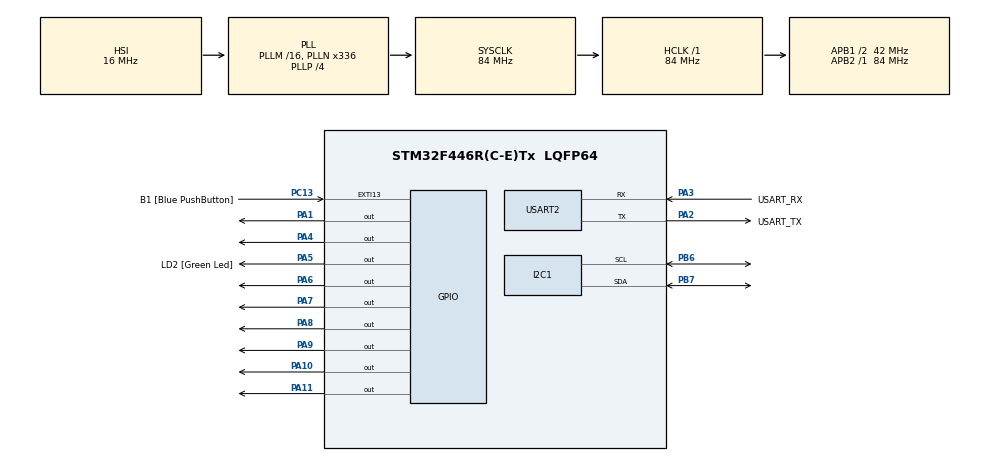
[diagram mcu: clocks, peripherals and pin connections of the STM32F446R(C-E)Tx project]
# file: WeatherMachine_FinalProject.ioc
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FREERTOS.Tasks01=LCDTask,0,512,StartLCDTask,Default,NULL,Dynamic,NULL,NULL;BME280Task,2,512,StartBME280Task,Default,NULL,Dynamic,NULL,NULL
Mcu.Family=STM32F4
Mcu.Name=STM32F446R(C-E)Tx
Mcu.Package=LQFP64
NVIC.EXTI15_10_IRQn=true\:5\:0\:false\:false\:true\:true\:true\:true\:true
NVIC.PriorityGroup=NVIC_PRIORITYGROUP_4
NVIC.TIM6_DAC_IRQn=true\:15\:0\:false\:false\:true\:false\:false\:true\:true
NVIC.TimeBase=TIM6_DAC_IRQn
NVIC.TimeBaseIP=TIM6
PA1.Signal=GPIO_Output
PA10.Signal=GPIO_Output
PA11.Signal=GPIO_Output
PA13.GPIO_Label=TMS
PA13.Mode=Serial_Wire
PA13.Signal=SYS_JTMS-SWDIO
PA14.GPIO_Label=TCK
PA14.Mode=Serial_Wire
PA14.Signal=SYS_JTCK-SWCLK
PA2.GPIO_Label=USART_TX
PA2.Mode=Asynchronous
PA2.Signal=USART2_TX
PA3.GPIO_Label=USART_RX
PA3.Mode=Asynchronous
PA3.Signal=USART2_RX
PA4.Signal=GPIO_Output
PA5.GPIO_Label=LD2 [Green Led]
PA5.Signal=GPIO_Output
PA6.Signal=GPIO_Output
PA7.Signal=GPIO_Output
PA8.Signal=GPIO_Output
PA9.Signal=GPIO_Output
PB3.GPIO_Label=SWO
PB3.Signal=SYS_JTDO-SWO
PB6.Mode=I2C
PB6.Signal=I2C1_SCL
PB7.Mode=I2C
PB7.Signal=I2C1_SDA
PC13.GPIO_Label=B1 [Blue PushButton]
PC13.GPIO_ModeDefaultEXTI=GPIO_MODE_IT_FALLING
PC13.Signal=GPXTI13
PC14-OSC32_IN.Mode=LSE-External-Oscillator
PC14-OSC32_IN.Signal=RCC_OSC32_IN
PC15-OSC32_OUT.Mode=LSE-External-Oscillator
PC15-OSC32_OUT.Signal=RCC_OSC32_OUT
PH0-OSC_IN.Mode=HSE-External-Oscillator
PH0-OSC_IN.Signal=RCC_OSC_IN
PH1-OSC_OUT.Mode=HSE-External-Oscillator
PH1-OSC_OUT.Signal=RCC_OSC_OUT
ProjectManager.HeapSize=0x200
ProjectManager.StackSize=0x400
ProjectManager.TargetToolchain=STM32CubeIDE
RCC.48MHZClocksFreq_Value=84000000
RCC.AHBFreq_Value=84000000
RCC.APB1CLKDivider=RCC_HCLK_DIV2
RCC.APB1Freq_Value=42000000
RCC.APB1TimFreq_Value=84000000
RCC.APB2Freq_Value=84000000
RCC.APB2TimFreq_Value=84000000
RCC.CortexFreq_Value=84000000
RCC.FLatency-AdvancedSettings=FLASH_LATENCY_2
RCC.HCLKFreq_Value=84000000
RCC.HSE_VALUE=8000000
RCC.HSI_VALUE=16000000
RCC.PLLN=336
RCC.PLLP=RCC_PLLP_DIV4
RCC.SYSCLKFreq_VALUE=84000000
RCC.SYSCLKSource=RCC_SYSCLKSOURCE_PLLCLK
RCC.USBFreq_Value=168000000
RCC.VCOOutputFreq_Value=336000000
USART2.VirtualMode=VM_ASYNC
VP_FREERTOS_VS_CMSIS_V1.Mode=CMSIS_V1
VP_SYS_VS_tim6.Mode=TIM6
board=NUCLEO-F446RE

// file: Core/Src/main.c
/* USER CODE BEGIN Header */
/**
  ******************************************************************************
  * @file           : main.c
  * @brief          : Main program body
  ******************************************************************************
  * @attention
  *
  * Copyright (c) 2026 STMicroelectronics.
  * All rights reserved.
  *
  * This software is licensed under terms that can be found in the LICENSE file
  * in the root directory of this software component.
  * If no LICENSE file comes with this software, it is provided AS-IS.
  *
  ******************************************************************************
  */
/* USER CODE END Header */
#include "main.h"
#include "cmsis_os.h"

/* USER CODE BEGIN Includes */

#include "string.h"
#include "stdio.h"

#include "FreeRTOS.h"
#include "task.h"
#include "timers.h"
#include "queue.h"
#include "semphr.h"
#include "event_groups.h"

#include "stm32f4xx_hal.h"
#include "./LiquidCrystal/LiquidCrystal.h"
#include "./BME280/bme280.h"

/* USER CODE END Includes */

/* USER CODE BEGIN PTD */

typedef struct {
	float temp;
	float hum;
	float press;
} SensorData_t;

/* USER CODE END PTD */

I2C_HandleTypeDef hi2c1;

UART_HandleTypeDef huart2;

osThreadId LCDTaskHandle;
osThreadId BME280TaskHandle;

osMessageQId DataQueueHandle;
/* USER CODE BEGIN PV */

struct bme280_dev dev;
struct bme280_data comp_data;
int8_t result;

int ButtonIndex = 0;

/* USER CODE END PV */

void SystemClock_Config(void);
static void MX_GPIO_Init(void);
static void MX_I2C1_Init(void);
static void MX_USART2_UART_Init(void);
void StartLCDTask(void const * argument);
void StartBME280Task(void const * argument);

/* USER CODE BEGIN PFP */

int8_t user_i2c_read(uint8_t id, uint8_t reg_addr, uint8_t* data, uint16_t len);
int8_t user_i2c_write(uint8_t id, uint8_t reg_addr, uint8_t* data, uint16_t len);
void user_delay_ms(uint32_t period);

void HAL_GPIO_EXTI_Callback(uint16_t GPIO_Pin);

/* USER CODE END PFP */

/* USER CODE BEGIN 0 */

/**
 * @brief Bridge function for the BME280 driver to read data over I2C.
 * @param id: The 7-bit I2C address shifted left by 1 (e.g., 0xEC).
 * @param reg_addr: The starting register address to read from.
 * @param data: Pointer to the buffer where the driver wants to store the data.
 * @param len: Number of bytes the driver is requesting to read.
 * @return 0 for success (BME280_OK), non-zero for failure.
 */
int8_t user_i2c_read(uint8_t id, uint8_t reg_addr, uint8_t* data, uint16_t len)
{
	if (HAL_I2C_Master_Transmit(&hi2c1, (id << 1), &reg_addr, 1, 10) != HAL_OK) return -1;
	if (HAL_I2C_Master_Receive(&hi2c1, (id << 1) | 0x01, data, len, 10) != HAL_OK) return -1;

	return 0;
}

/**
 * @brief Bridge function for the BME280 driver to write data over I2C.
 * @param id: The I2C device address (shifted left).
 * @param reg_addr: The register address to write to.
 * @param data: Pointer to the data the driver wants to send.
 * @param len: Number of bytes to be written.
 * @return 0 for success, non-zero for failure.
 */
int8_t user_i2c_write(uint8_t id, uint8_t reg_addr, uint8_t* data, uint16_t len)
{
	int8_t* buf;
	buf = malloc(len + 1);
	buf[0] = reg_addr;
	memcpy(buf + 1, data, len);

	if (HAL_I2C_Master_Transmit(&hi2c1, (id << 1), (uint8_t*) buf, len + 1, HAL_MAX_DELAY) != HAL_OK) return -1;

	free(buf);
	return 0;
}

/**
 * @brief Provides a millisecond delay required by the BME280 sensor logic.
 * @param period: Time in milliseconds to pause execution.
 */
void user_delay_ms(uint32_t period)
{
	HAL_Delay(period);
}

void HAL_GPIO_EXTI_Callback(uint16_t GPIO_Pin)
{
	ButtonIndex = (ButtonIndex + 1) % 3;
}

/* USER CODE END 0 */

int main(void)
{

  /* MCU Configuration--------------------------------------------------------*/

  /* Reset of all peripherals, Initializes the Flash interface and the Systick. */
  HAL_Init();

  /* Configure the system clock */
  SystemClock_Config();

  /* Initialize all configured peripherals */
  MX_GPIO_Init();
  MX_I2C1_Init();
  MX_USART2_UART_Init();

  /* USER CODE BEGIN RTOS_QUEUES */
  /* add queues, ... */
  osMessageQDef(DataQueue, 5, SensorData_t);
  DataQueueHandle = osMessageCreate(osMessageQ(DataQueue), NULL);
  /* USER CODE END RTOS_QUEUES */

  /* Create the thread(s) */
  /* definition and creation of LCDTask */
  osThreadDef(LCDTask, StartLCDTask, osPriorityNormal, 0, 512);
  LCDTaskHandle = osThreadCreate(osThread(LCDTask), NULL);

  /* definition and creation of BME280Task */
  osThreadDef(BME280Task, StartBME280Task, osPriorityHigh, 0, 512);
  BME280TaskHandle = osThreadCreate(osThread(BME280Task), NULL);

  /* Start scheduler */
  osKernelStart();

  /* We should never get here as control is now taken by the scheduler */

  /* Infinite loop */
  while (1)
  {

  }
}

void SystemClock_Config(void)
{
  RCC_OscInitTypeDef RCC_OscInitStruct = {0};
  RCC_ClkInitTypeDef RCC_ClkInitStruct = {0};

  /** Configure the main internal regulator output voltage
  */
  __HAL_RCC_PWR_CLK_ENABLE();
  __HAL_PWR_VOLTAGESCALING_CONFIG(PWR_REGULATOR_VOLTAGE_SCALE3);

  /** Initializes the RCC Oscillators according to the specified parameters
  * in the RCC_OscInitTypeDef structure.
  */
  RCC_OscInitStruct.OscillatorType = RCC_OSCILLATORTYPE_HSI;
  RCC_OscInitStruct.HSIState = RCC_HSI_ON;
  RCC_OscInitStruct.HSICalibrationValue = RCC_HSICALIBRATION_DEFAULT;
  RCC_OscInitStruct.PLL.PLLState = RCC_PLL_ON;
  RCC_OscInitStruct.PLL.PLLSource = RCC_PLLSOURCE_HSI;
  RCC_OscInitStruct.PLL.PLLM = 16;
  RCC_OscInitStruct.PLL.PLLN = 336;
  RCC_OscInitStruct.PLL.PLLP = RCC_PLLP_DIV4;
  RCC_OscInitStruct.PLL.PLLQ = 2;
  RCC_OscInitStruct.PLL.PLLR = 2;
  if (HAL_RCC_OscConfig(&RCC_OscInitStruct) != HAL_OK)
  {
    Error_Handler();
  }

  /** Initializes the CPU, AHB and APB buses clocks
  */
  RCC_ClkInitStruct.ClockType = RCC_CLOCKTYPE_HCLK|RCC_CLOCKTYPE_SYSCLK
                              |RCC_CLOCKTYPE_PCLK1|RCC_CLOCKTYPE_PCLK2;
  RCC_ClkInitStruct.SYSCLKSource = RCC_SYSCLKSOURCE_PLLCLK;
  RCC_ClkInitStruct.AHBCLKDivider = RCC_SYSCLK_DIV1;
  RCC_ClkInitStruct.APB1CLKDivider = RCC_HCLK_DIV2;
  RCC_ClkInitStruct.APB2CLKDivider = RCC_HCLK_DIV1;

  if (HAL_RCC_ClockConfig(&RCC_ClkInitStruct, FLASH_LATENCY_2) != HAL_OK)
  {
    Error_Handler();
  }
}

static void MX_I2C1_Init(void)
{

  hi2c1.Instance = I2C1;
  hi2c1.Init.ClockSpeed = 100000;
  hi2c1.Init.DutyCycle = I2C_DUTYCYCLE_2;
  hi2c1.Init.OwnAddress1 = 0;
  hi2c1.Init.AddressingMode = I2C_ADDRESSINGMODE_7BIT;
  hi2c1.Init.DualAddressMode = I2C_DUALADDRESS_DISABLE;
  hi2c1.Init.OwnAddress2 = 0;
  hi2c1.Init.GeneralCallMode = I2C_GENERALCALL_DISABLE;
  hi2c1.Init.NoStretchMode = I2C_NOSTRETCH_DISABLE;
  if (HAL_I2C_Init(&hi2c1) != HAL_OK)
  {
    Error_Handler();
  }

}

static void MX_USART2_UART_Init(void)
{

  huart2.Instance = USART2;
  huart2.Init.BaudRate = 115200;
  huart2.Init.WordLength = UART_WORDLENGTH_8B;
  huart2.Init.StopBits = UART_STOPBITS_1;
  huart2.Init.Parity = UART_PARITY_NONE;
  huart2.Init.Mode = UART_MODE_TX_RX;
  huart2.Init.HwFlowCtl = UART_HWCONTROL_NONE;
  huart2.Init.OverSampling = UART_OVERSAMPLING_16;
  if (HAL_UART_Init(&huart2) != HAL_OK)
  {
    Error_Handler();
  }

}

static void MX_GPIO_Init(void)
{
  GPIO_InitTypeDef GPIO_InitStruct = {0};

  /* GPIO Ports Clock Enable */
  __HAL_RCC_GPIOC_CLK_ENABLE();
  __HAL_RCC_GPIOH_CLK_ENABLE();
  __HAL_RCC_GPIOA_CLK_ENABLE();
  __HAL_RCC_GPIOB_CLK_ENABLE();

  /*Configure GPIO pin Output Level */
  HAL_GPIO_WritePin(GPIOA, GPIO_PIN_1|GPIO_PIN_4|LD2_Pin|GPIO_PIN_6
                          |GPIO_PIN_7|GPIO_PIN_8|GPIO_PIN_9|GPIO_PIN_10
                          |GPIO_PIN_11, GPIO_PIN_RESET);

  /*Configure GPIO pin : B1_Pin */
  GPIO_InitStruct.Pin = B1_Pin;
  GPIO_InitStruct.Mode = GPIO_MODE_IT_FALLING;
  GPIO_InitStruct.Pull = GPIO_NOPULL;
  HAL_GPIO_Init(B1_GPIO_Port, &GPIO_InitStruct);

  /*Configure GPIO pins : PA1 PA4 LD2_Pin PA6
                           PA7 PA8 PA9 PA10
                           PA11 */
  GPIO_InitStruct.Pin = GPIO_PIN_1|GPIO_PIN_4|LD2_Pin|GPIO_PIN_6
                          |GPIO_PIN_7|GPIO_PIN_8|GPIO_PIN_9|GPIO_PIN_10
                          |GPIO_PIN_11;
  GPIO_InitStruct.Mode = GPIO_MODE_OUTPUT_PP;
  GPIO_InitStruct.Pull = GPIO_NOPULL;
  GPIO_InitStruct.Speed = GPIO_SPEED_FREQ_LOW;
  HAL_GPIO_Init(GPIOA, &GPIO_InitStruct);

  /* EXTI interrupt init*/
  HAL_NVIC_SetPriority(EXTI15_10_IRQn, 5, 0);
  HAL_NVIC_EnableIRQ(EXTI15_10_IRQn);

}

void StartLCDTask(void const * argument)
{
  /* USER CODE BEGIN 5 */
  char buffer[16];
  char hval[16], tval[16], pval[16];
  char str1[50], str2[50], str3[50];

  char* lcd_messages[][2] = {{"Humidity:", hval}, {"Temperature:", tval}, {"Pressure:", pval}};

  osEvent event;
  SensorData_t* CaughtData;

  // 1. Give the LCD hardware time to stabilize
  osDelay(100);

  // 2. Initialize the internal pin mapping
  //RS to PA1
  //R/W to PA4
  //EN to PA6
  //D4 to PA7
  //D5 to PA8
  //D6 to PA9
  //D7 to PA10
  LiquidCrystal(GPIOA, GPIO_PIN_1, GPIO_PIN_4, GPIO_PIN_6, GPIO_PIN_7, GPIO_PIN_8, GPIO_PIN_9, GPIO_PIN_10);

  // 3. Setup dimensions and clear screen
  begin(16, 2);
  print("System Ready");
  osDelay(500);

  clear();
  /* Infinite loop */
  for(;;)
  {
	event = osMessageGet(DataQueueHandle, 0);

	if (event.status == osEventMessage)
	{
		CaughtData = (SensorData_t*)event.value.p;

		sprintf(lcd_messages[0][1], "%03.1f %%", CaughtData->hum);
		sprintf(lcd_messages[1][1], "%03.1f C", CaughtData->temp);
		sprintf(lcd_messages[2][1], "%03.1f hPa", CaughtData->press);

		sprintf(str1, "Humidity %03.1f %%\r\n", CaughtData->hum);
		sprintf(str2, "Temperature %03.1f C\r\n", CaughtData->temp);
		sprintf(str3, "Pressure %03.1f hPa\r\n", CaughtData->press);

		HAL_UART_Transmit(&huart2, (uint8_t*) str1, strlen(str1), HAL_MAX_DELAY);
		HAL_UART_Transmit(&huart2, (uint8_t*) str2, strlen(str2), HAL_MAX_DELAY);
		HAL_UART_Transmit(&huart2, (uint8_t*) str3, strlen(str3), HAL_MAX_DELAY);
	}

	setCursor(0, 0);
	sprintf(buffer, "%-16s", lcd_messages[ButtonIndex][0]);
	print(buffer);

	setCursor(0, 1);
	sprintf(buffer, "%-16s", lcd_messages[ButtonIndex][1]);
	print(buffer);

	osDelay(10);
  }
  /* USER CODE END 5 */
}

void StartBME280Task(void const * argument)
{
  /* USER CODE BEGIN StartBME280Task */

  //Initialize Sensor
  dev.dev_id = BME280_I2C_ADDR_PRIM;
  dev.intf = BME280_I2C_INTF;
  dev.read = user_i2c_read;
  dev.write = user_i2c_write;
  dev.delay_ms = user_delay_ms;

  result = bme280_init(&dev);

  //Configure Sensor Settings
  dev.settings.osr_h = BME280_OVERSAMPLING_1X; //Humidity Oversample
  dev.settings.osr_p = BME280_OVERSAMPLING_16X; //Pressure Oversample
  dev.settings.osr_t = BME280_OVERSAMPLING_2X; //Temperature Oversample
  dev.settings.filter = BME280_FILTER_COEFF_16;
  dev.settings.standby_time = BME280_STANDBY_TIME_62_5_MS;

  result = bme280_set_sensor_settings(BME280_OSR_PRESS_SEL | BME280_OSR_TEMP_SEL | BME280_OSR_HUM_SEL | BME280_FILTER_SEL, &dev);

  //Set Sensor to Normal Mode
  result = bme280_set_sensor_mode(BME280_NORMAL_MODE, &dev);

  /* Infinite loop */
  for(;;)
  {
	result = bme280_get_sensor_data(BME280_ALL, &comp_data, &dev);

	if (result == BME280_OK)
	{
		SensorData_t data;
		data.temp = comp_data.temperature / 100.0;
		data.hum = comp_data.humidity / 1024.0;
		data.press = comp_data.pressure / 10000.0;

		osMessagePut(DataQueueHandle, (uint32_t) &data, 0);

	    osDelay(10);
	}
  }
  /* USER CODE END StartBME280Task */
}

void HAL_TIM_PeriodElapsedCallback(TIM_HandleTypeDef *htim)
{
  if (htim->Instance == TIM6)
  {
    HAL_IncTick();
  }
}

void Error_Handler(void)
{
  __disable_irq();
  while (1)
  {
  }
}
